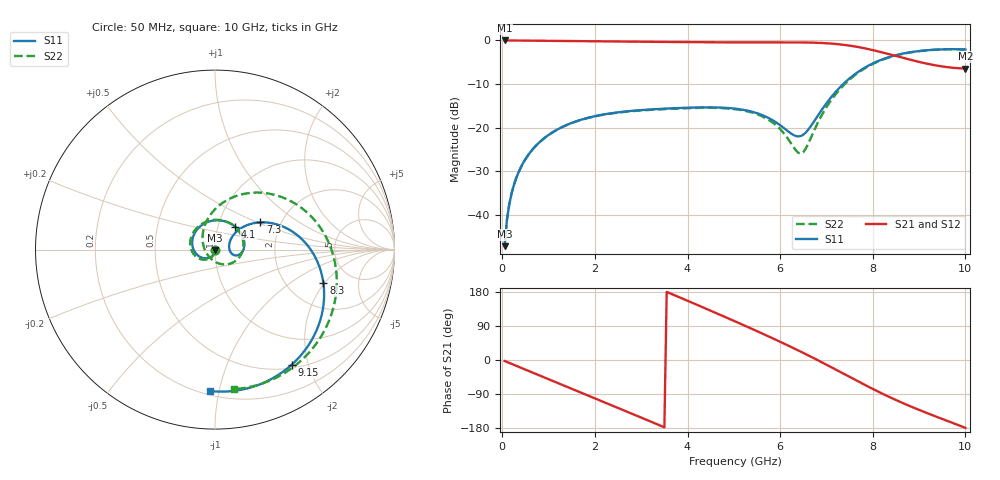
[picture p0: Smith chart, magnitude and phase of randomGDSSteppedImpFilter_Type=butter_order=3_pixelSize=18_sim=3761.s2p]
! freq	dB(S11)	phase(S11)	dB(S12)	phase(S12)
!  dB(S21)	phase(S21)	dB(S22)	phase(S22)
!S-par simulation data
#  GHz  S  DB  R 50
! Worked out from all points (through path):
!   200 points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, 50 MHz to 10 GHz, reference 50 ohm
!   highest |S21| = 0.00 dB at 50 MHz (marker M1); lowest = -6.4 dB at 10 GHz (marker M2)
!   group delay of S21, straight-line fit = 153 ps
!   lowest |S11| = -47.1 dB at 50 MHz (marker M3), VSWR 1.01, Z = 50 - j0.441 ohm
!   |S11| at or under -10 dB: start of sweep to 7.361 GHz
!   |S22| runs from -47.1 to -2.0 dB; largest |S21 - S12| = 0
!   S11 on the Smith chart (normalised r, x): 50 MHz: 1.00, -0.01; 4.1 GHz: 1.21, +0.32; 7.3 GHz: 1.57, +0.52; 8.3 GHz: 3.14, -1.94; 9.15 GHz: 0.55, -1.73; 10 GHz: 0.23, -0.94
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0.05  -47.11 -91.7  -0.00 -2.6  -0.00 -2.6  -47.11 -91.3
0.1  -41.09 -94.9  -0.01 -5.1  -0.01 -5.1  -41.08 -94.0
0.2  -35.06 -100.6  -0.02 -10.2  -0.02 -10.2  -35.06 -98.8
0.5  -27.18 -117.6  -0.04 -25.4  -0.04 -25.4  -27.18 -113.2
1.15  -20.63 -154.2  -0.10 -58.2  -0.10 -58.2  -20.64 -144.1
1.75  -18.01 172.4  -0.17 -88.5  -0.17 -88.5  -18.03 -171.9
2.5  -16.46 131.1  -0.25 -126.4  -0.25 -126.4  -16.52 153.2
2.95  -15.99 106.7  -0.29 -149.4  -0.29 -149.4  -16.07 131.6
3.4  -15.68 83.2  -0.33 -172.5  -0.33 -172.5  -15.78 109.0
4.1  -15.37 48.9  -0.40 151.1  -0.40 151.1  -15.48 71.1
4.6  -15.34 26.4  -0.43 124.8  -0.43 124.8  -15.45 41.9
5.05  -15.65 7.9  -0.45 100.7  -0.45 100.7  -15.77 14.0
5.7  -17.49 -13.2  -0.45 65.1  -0.45 65.1  -17.86 -31.4
6.4  -21.98 7.3  -0.45 24.7  -0.45 24.7  -25.78 -132.8
6.7  -19.05 35.0  -0.50 6.5  -0.50 6.5  -21.41 144.0
7.3  -10.63 31.1  -0.91 -31.7  -0.91 -31.7  -11.06 77.2
7.8  -6.41 8.2  -1.75 -63.9  -1.75 -63.9  -6.57 39.0
8.3  -3.99 -17.1  -3.01 -94.3  -3.01 -94.3  -4.07 5.7
8.35  -3.82 -19.5  -3.14 -97.2  -3.14 -97.2  -3.90 2.6
8.75  -2.81 -38.6  -4.26 -119.0  -4.26 -119.0  -2.86 -20.6
9.15  -2.26 -56.4  -5.28 -139.0  -5.28 -139.0  -2.29 -41.5
10  -2.06 -91.9  -6.43 -179.1  -6.43 -179.1  -2.11 -82.1
